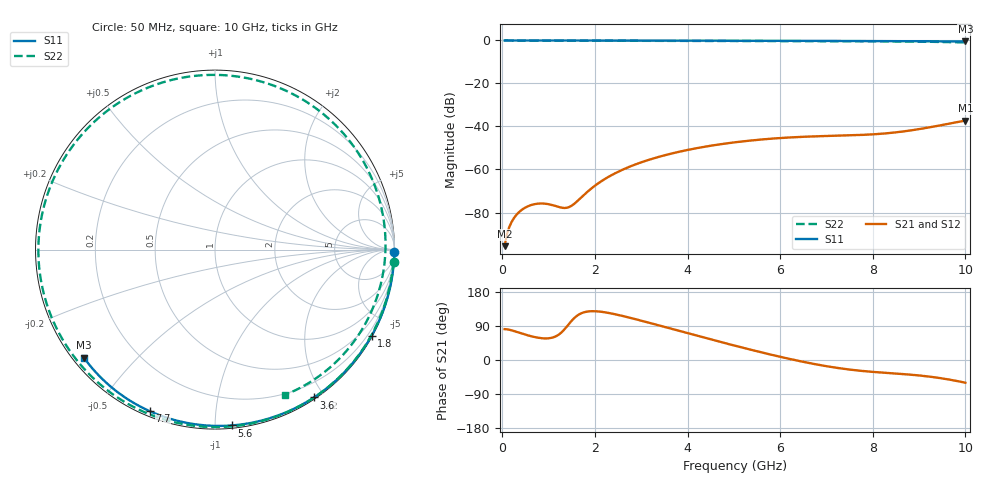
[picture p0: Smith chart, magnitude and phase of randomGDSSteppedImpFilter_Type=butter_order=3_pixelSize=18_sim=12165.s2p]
! freq	dB(S11)	phase(S11)	dB(S12)	phase(S12)
!  dB(S21)	phase(S21)	dB(S22)	phase(S22)
!S-par simulation data
#  GHz  S  DB  R 50
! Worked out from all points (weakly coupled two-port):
!   200 points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, 50 MHz to 10 GHz, reference 50 ohm
!   highest |S21| = -37.23 dB at 10 GHz (marker M1); lowest = -95.7 dB at 50 MHz (marker M2)
!   lowest |S11| = -0.5 dB at 10 GHz (marker M3), VSWR 36.50, Z = 1.55 - j17.9 ohm
!   |S11| at or under -10 dB: nowhere
!   |S22| runs from -0.9 to 0.0 dB; largest |S21 - S12| = 0
!   S11 on the Smith chart (normalised r, x): 50 MHz: open; 1.8 GHz: 0.03, -3.90; 3.6 GHz: 0.02, -1.87; 5.6 GHz: 0.02, -1.10; 7.7 GHz: 0.02, -0.68; 10 GHz: 0.03, -0.36
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0.05  -0.00 -0.8  -95.65 81.4  -95.65 81.4  -0.02 -3.9
0.4  -0.01 -6.5  -79.11 70.7  -79.11 70.7  -0.05 -31.8
0.6  -0.01 -9.7  -76.70 63.5  -76.70 63.5  -0.06 -47.0
0.85  -0.02 -13.7  -75.81 57.5  -75.81 57.5  -0.08 -64.9
1.1  -0.02 -17.7  -76.66 59.8  -76.66 59.8  -0.09 -81.5
1.4  -0.03 -22.5  -77.77 89.2  -77.77 89.2  -0.10 -99.4
1.75  -0.04 -28.0  -72.07 125.3  -72.07 125.3  -0.11 -118.1
1.8  -0.04 -28.8  -71.09 127.0  -71.09 127.0  -0.11 -120.6
2.15  -0.04 -34.2  -65.30 127.0  -65.30 127.0  -0.12 -136.9
2.55  -0.05 -40.4  -60.56 117.6  -60.56 117.6  -0.13 -153.6
3.4  -0.07 -53.2  -54.00 90.7  -54.00 90.7  -0.14 175.3
3.6  -0.08 -56.2  -52.87 84.1  -52.87 84.1  -0.15 168.6
4.3  -0.09 -66.3  -49.68 61.0  -49.68 61.0  -0.17 145.8
5.05  -0.12 -76.9  -47.28 36.9  -47.28 36.9  -0.19 121.9
5.6  -0.14 -84.5  -46.04 20.1  -46.04 20.1  -0.22 104.2
6.15  -0.16 -91.9  -45.18 4.3  -45.18 4.3  -0.24 86.0
6.7  -0.19 -99.1  -44.62 -9.7  -44.62 -9.7  -0.27 67.2
7.2  -0.22 -105.6  -44.30 -20.2  -44.30 -20.2  -0.30 49.4
7.7  -0.26 -111.9  -43.97 -28.0  -43.97 -28.0  -0.34 31.0
8.35  -0.31 -120.1  -43.07 -34.5  -43.07 -34.5  -0.42 6.0
9.15  -0.38 -130.0  -40.68 -42.8  -40.68 -42.8  -0.60 -26.4
10  -0.48 -140.5  -37.23 -59.9  -37.23 -59.9  -0.93 -64.2
